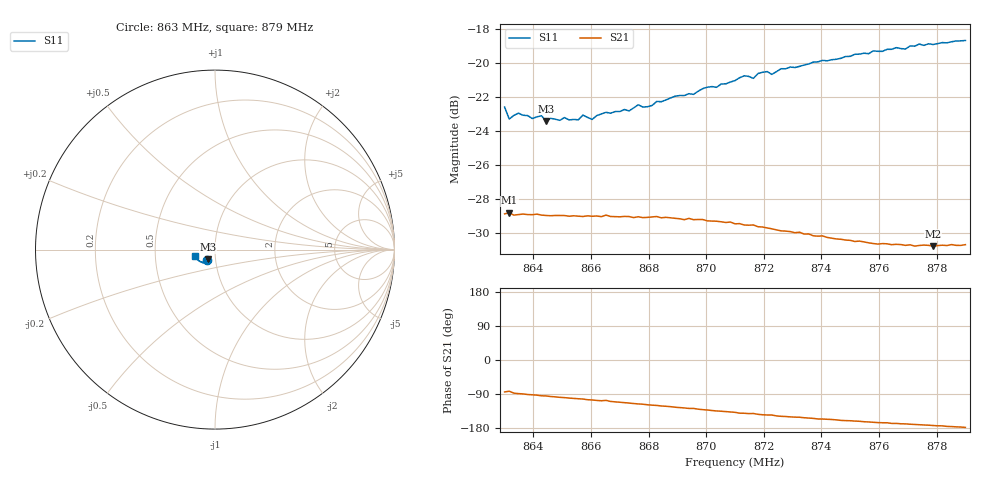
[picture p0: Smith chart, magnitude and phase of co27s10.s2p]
# HZ S RI R 50
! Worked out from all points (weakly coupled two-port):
!   101 points, 863 MHz to 879 MHz, reference 50 ohm
!   highest |S21| = -28.80 dB at 863.16 MHz (marker M1); lowest = -30.8 dB at 877.88 MHz (marker M2)
!   lowest |S11| = -23.4 dB at 864.44 MHz (marker M3), VSWR 1.14, Z = 46 - j5.07 ohm
!   |S11| at or under -10 dB: start of sweep to end of sweep
!   S12 and S22 are empty: the file has one direction only
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8.63e8  -0.0466 -0.0577  0.0036 -0.0359  0 0  0 0
8.6316e8  -0.0405 -0.0551  0.00483 -0.036  0 0  0 0
8.6348e8  -0.0433 -0.0565  0.000815 -0.0359  0 0  0 0
8.6396e8  -0.0409 -0.0551  -0.00113 -0.0358  0 0  0 0
8.6428e8  -0.0395 -0.0577  -0.00278 -0.0357  0 0  0 0
8.6444e8  -0.0393 -0.0549  -0.00303 -0.0355  0 0  0 0
8.6508e8  -0.0384 -0.0574  -0.00576 -0.0352  0 0  0 0
8.6556e8  -0.0362 -0.0577  -0.00754 -0.0347  0 0  0 0
8.6572e8  -0.0363 -0.0601  -0.00799 -0.0345  0 0  0 0
8.6604e8  -0.0359 -0.058  -0.0095 -0.0342  0 0  0 0
8.6652e8  -0.0356 -0.0621  -0.0102 -0.0343  0 0  0 0
8.6732e8  -0.037 -0.0621  -0.0142 -0.0324  0 0  0 0
8.6764e8  -0.0376 -0.0653  -0.0154 -0.0318  0 0  0 0
8.6796e8  -0.0372 -0.0644  -0.0166 -0.0311  0 0  0 0
8.6844e8  -0.0387 -0.0665  -0.0182 -0.03  0 0  0 0
8.71e8  -0.0509 -0.0727  -0.0251 -0.0225  0 0  0 0
8.7132e8  -0.0544 -0.0737  -0.0258 -0.0213  0 0  0 0
8.7164e8  -0.0521 -0.0735  -0.0261 -0.021  0 0  0 0
8.7372e8  -0.0696 -0.0725  -0.028 -0.0136  0 0  0 0
8.7644e8  -0.0919 -0.0597  -0.0286 -0.0064  0 0  0 0
8.7788e8  -0.1021 -0.049  -0.0288 -0.00359  0 0  0 0
8.79e8  -0.11 -0.0379  -0.0293 -0.00111  0 0  0 0
